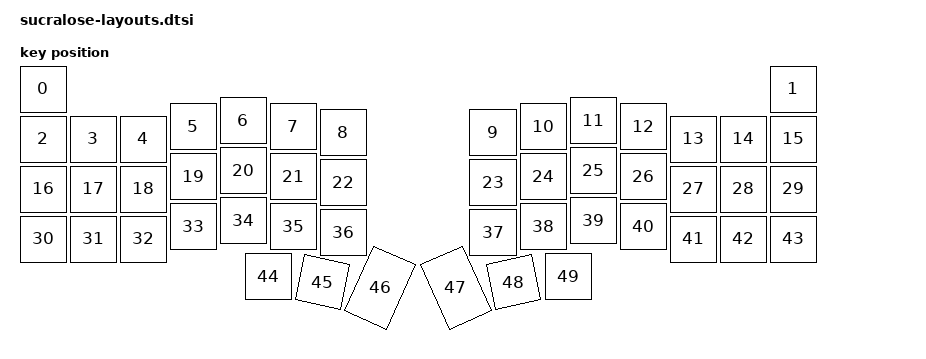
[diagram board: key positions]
/*
 * Copyright (c) 2026 The ZMK Contributors
 *
 * SPDX-License-Identifier: MIT
 */

#include <layouts/foostan/corne/6column.dtsi>

/*
 * Two layouts, because the COL6 strip snaps off. "7 Column" is the default.
 * "6 Column" is the same 42 keys and matrix positions as a 6-column Corne, so
 * the Corne physical layout (ZMK Studio) and keymaps carry over; select it in
 * Studio on a snapped board to hide the strip. Sucralose's splayed geometry is
 * not drawn in either; the key order is what matters.
 */
&foostan_corne_6col_layout {
    transform = <&six_col_transform>;
};

/ {
    sucralose_7col_layout: sucralose_7col_layout {
        compatible = "zmk,physical-layout";
        display-name = "7 Column";
        transform = <&default_transform>;

        keys  //                     w   h    x    y     rot    rx    ry
            = <&key_physical_attrs 100 100    0    0       0     0     0>
            , <&key_physical_attrs 100 100 1500    0       0     0     0>
            , <&key_physical_attrs 100 100    0  100       0     0     0>
            , <&key_physical_attrs 100 100  100  100       0     0     0>
            , <&key_physical_attrs 100 100  200  100       0     0     0>
            , <&key_physical_attrs 100 100  300   75       0     0     0>
            , <&key_physical_attrs 100 100  400   63       0     0     0>
            , <&key_physical_attrs 100 100  500   75       0     0     0>
            , <&key_physical_attrs 100 100  600   87       0     0     0>
            , <&key_physical_attrs 100 100  900   87       0     0     0>
            , <&key_physical_attrs 100 100 1000   75       0     0     0>
            , <&key_physical_attrs 100 100 1100   63       0     0     0>
            , <&key_physical_attrs 100 100 1200   75       0     0     0>
            , <&key_physical_attrs 100 100 1300  100       0     0     0>
            , <&key_physical_attrs 100 100 1400  100       0     0     0>
            , <&key_physical_attrs 100 100 1500  100       0     0     0>
            , <&key_physical_attrs 100 100    0  200       0     0     0>
            , <&key_physical_attrs 100 100  100  200       0     0     0>
            , <&key_physical_attrs 100 100  200  200       0     0     0>
            , <&key_physical_attrs 100 100  300  175       0     0     0>
            , <&key_physical_attrs 100 100  400  163       0     0     0>
            , <&key_physical_attrs 100 100  500  175       0     0     0>
            , <&key_physical_attrs 100 100  600  187       0     0     0>
            , <&key_physical_attrs 100 100  900  187       0     0     0>
            , <&key_physical_attrs 100 100 1000  175       0     0     0>
            , <&key_physical_attrs 100 100 1100  163       0     0     0>
            , <&key_physical_attrs 100 100 1200  175       0     0     0>
            , <&key_physical_attrs 100 100 1300  200       0     0     0>
            , <&key_physical_attrs 100 100 1400  200       0     0     0>
            , <&key_physical_attrs 100 100 1500  200       0     0     0>
            , <&key_physical_attrs 100 100    0  300       0     0     0>
            , <&key_physical_attrs 100 100  100  300       0     0     0>
            , <&key_physical_attrs 100 100  200  300       0     0     0>
            , <&key_physical_attrs 100 100  300  275       0     0     0>
            , <&key_physical_attrs 100 100  400  263       0     0     0>
            , <&key_physical_attrs 100 100  500  275       0     0     0>
            , <&key_physical_attrs 100 100  600  287       0     0     0>
            , <&key_physical_attrs 100 100  900  287       0     0     0>
            , <&key_physical_attrs 100 100 1000  275       0     0     0>
            , <&key_physical_attrs 100 100 1100  263       0     0     0>
            , <&key_physical_attrs 100 100 1200  275       0     0     0>
            , <&key_physical_attrs 100 100 1300  300       0     0     0>
            , <&key_physical_attrs 100 100 1400  300       0     0     0>
            , <&key_physical_attrs 100 100 1500  300       0     0     0>
            , <&key_physical_attrs 100 100  450  375       0     0     0>
            , <&key_physical_attrs 100 100  550  375    1200   550   475>
            , <&key_physical_attrs 100 150  648  346    2400   648   496>
            , <&key_physical_attrs 100 150  852  346 (-2400)   952   496>
            , <&key_physical_attrs 100 100  950  375 (-1200)  1050   475>
            , <&key_physical_attrs 100 100 1050  375       0     0     0>
        ;
    };
};

/* Strip bindings survive a switch to "6 Column" and back: 42..49 are hidden. */
&layouts_foostan_corne_position_map {
    sucralose_7col_posmap: seven {
        physical-layout = <&sucralose_7col_layout>;
        positions
            = < 0                                      1>
            , < 2  3  4  5  6  7  8  9 10 11 12 13 14 15>
            , <16 17 18 19 20 21 22 23 24 25 26 27 28 29>
            , <30 31 32 33 34 35 36 37 38 39 40 41 42 43>
            , <            44 45 46 47 48 49            >;
    };
};

&foostan_corne_6col_posmap {
    positions
        = <42                                     43>
        , <44  0  1  2  3  4  5  6  7  8  9 10 11 45>
        , <46 12 13 14 15 16 17 18 19 20 21 22 23 47>
        , <48 24 25 26 27 28 29 30 31 32 33 34 35 49>
        , <            36 37 38 39 40 41            >;
};
